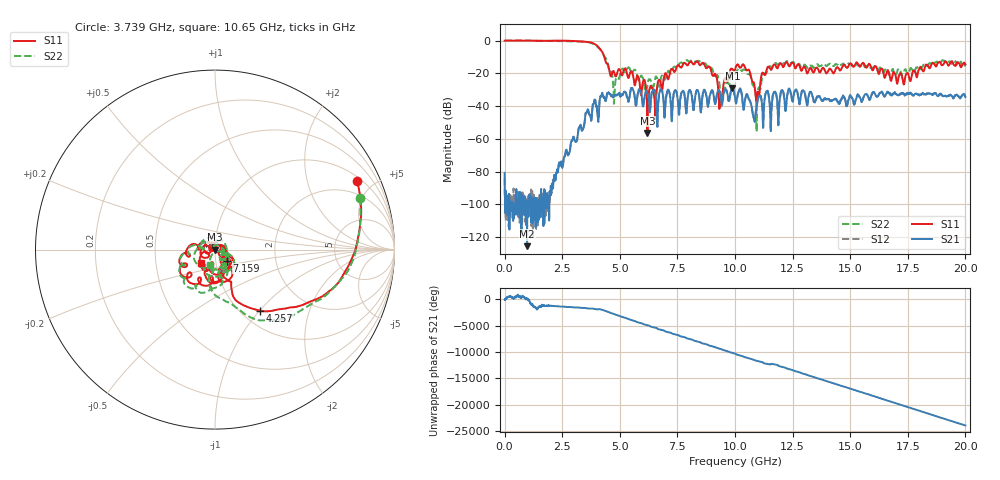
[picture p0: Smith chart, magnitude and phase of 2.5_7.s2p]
#  HZ  S  RI  R  50.00
! Rohde & Schwarz Vector Network Analyzer
! Rohde-Schwarz,ZNB20-2Port,1311601062102128,3.60
! Created: UTC 4/29/2024, 2:52:40 PM
! freq[Hz]  re:S11  im:S11  re:S21  im:S21  re:S12  im:S12  re:S22  im:S22
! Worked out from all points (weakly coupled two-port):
!   2007 points, 100 kHz to 20 GHz, reference 50 ohm
!   highest |S21| = -28.91 dB at 9.89 GHz (marker M1); lowest = -125.5 dB at 977.2 MHz (marker M2)
!   lowest |S11| = -56.4 dB at 6.201 GHz (marker M3), VSWR 1.00, Z = 49.9 - j0.0364 ohm
!   |S11| at or under -10 dB: 4.329 GHz to end of sweep
!   |S22| runs from -55.5 to 0.1 dB; largest |S21 - S12| = 0.0022
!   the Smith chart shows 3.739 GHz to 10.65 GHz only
!   S11 on the Smith chart (normalised r, x): 3.739 GHz: 1.21, +4.03; 4.257 GHz: 1.22, -1.01; 7.159 GHz: 1.13, -0.14; 10.65 GHz: 0.85, -0.13
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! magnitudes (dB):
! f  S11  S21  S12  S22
! 100 kHz  0.0  -80.7  -84.2  0.1
! 977.2 MHz  0.1  -125.5  -100.4  0.0
! 2.223 GHz  -0.1  -82.4  -82.3  -0.3
! 3.34 GHz  -0.6  -54.2  -54.0  -0.6
! 3.739 GHz  -1.1  -47.4  -47.2  -1.3
! 4.257 GHz  -7.5  -33.0  -32.6  -7.6
! 4.766 GHz  -19.8  -33.4  -33.4  -32.9
! 5.374 GHz  -22.8  -37.4  -37.3  -16.3
! 6.201 GHz  -56.4  -32.4  -32.5  -27.4
! 6.67 GHz  -24.5  -37.9  -37.9  -25.7
! 7.159 GHz  -20.8  -32.1  -32.0  -19.2
! 8.614 GHz  -13.6  -31.7  -31.7  -14.3
! 9.153 GHz  -20.6  -38.3  -38.3  -21.8
! 9.372 GHz  -35.9  -33.8  -33.8  -33.6
! 9.89 GHz  -17.4  -28.9  -28.9  -19.5
! 10 GHz  -17.9  -34.5  -34.5  -20.4
! 10.65 GHz  -19.4  -37.0  -37.0  -20.9
! 10.97 GHz  -32.0  -37.8  -37.8  -33.7
! 11.71 GHz  -14.5  -31.5  -31.5  -14.0
! 13.34 GHz  -18.0  -32.6  -32.7  -15.3
! 16.67 GHz  -19.1  -31.8  -31.8  -20.5
! 20 GHz  -14.6  -34.5  -34.5  -14.3
